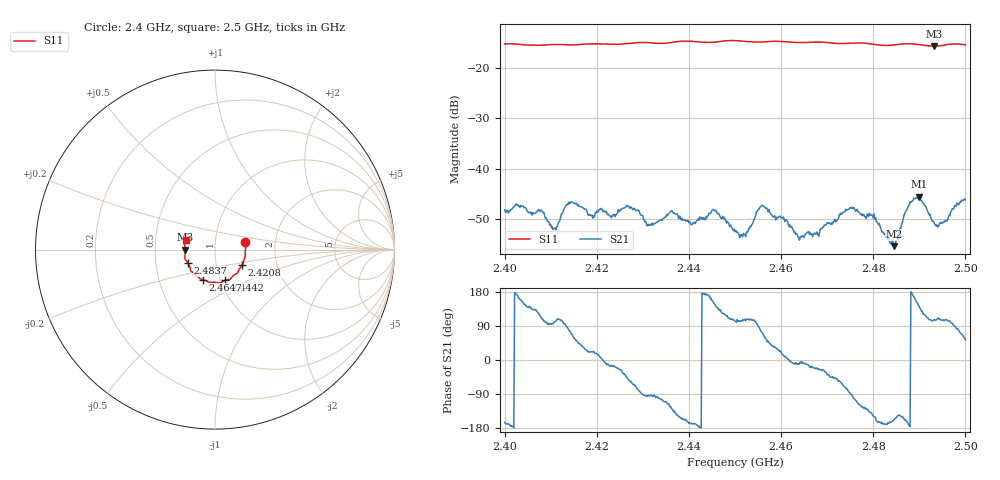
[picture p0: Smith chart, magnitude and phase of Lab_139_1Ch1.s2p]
# Hz S RI R 50
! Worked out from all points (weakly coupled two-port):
!   601 points, 2.4 GHz to 2.5 GHz, reference 50 ohm
!   highest |S21| = -45.60 dB at 2.49 GHz (marker M1); lowest = -55.4 dB at 2.4845 GHz (marker M2)
!   lowest |S11| = -15.6 dB at 2.4932 GHz (marker M3), VSWR 1.40, Z = 35.8 - j0.0857 ohm
!   |S11| at or under -10 dB: start of sweep to end of sweep
!   S12 and S22 are empty: the file has one direction only
!   S11 on the Smith chart (normalised r, x): 2.4 GHz: 1.40, +0.12; 2.4208 GHz: 1.33, -0.24; 2.4442 GHz: 1.05, -0.37; 2.4647 GHz: 0.83, -0.29; 2.4837 GHz: 0.73, -0.11; 2.5 GHz: 0.72, +0.08
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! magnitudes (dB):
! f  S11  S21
! 2.4 GHz  -15.2  -48.2
! 2.4078 GHz  -15.4  -48.3
! 2.4107 GHz  -15.3  -52.0
! 2.4138 GHz  -15.4  -47.1
! 2.4167 GHz  -15.3  -47.6
! 2.4208 GHz  -15.2  -48.1
! 2.4333 GHz  -15.1  -50.5
! 2.4442 GHz  -14.9  -49.4
! 2.45 GHz  -14.5  -52.5
! 2.4522 GHz  -14.7  -53.2
! 2.456 GHz  -14.8  -47.4
! 2.4647 GHz  -14.9  -53.3
! 2.4667 GHz  -14.8  -53.0
! 2.4753 GHz  -15.0  -47.9
! 2.48 GHz  -15.2  -49.8
! 2.4833 GHz  -15.5  -53.7
! 2.4837 GHz  -15.5  -54.8
! 2.4845 GHz  -15.4  -55.4
! 2.4875 GHz  -15.1  -47.7
! 2.49 GHz  -15.3  -45.6
! 2.4932 GHz  -15.6  -50.6
! 2.5 GHz  -15.3  -46.2
